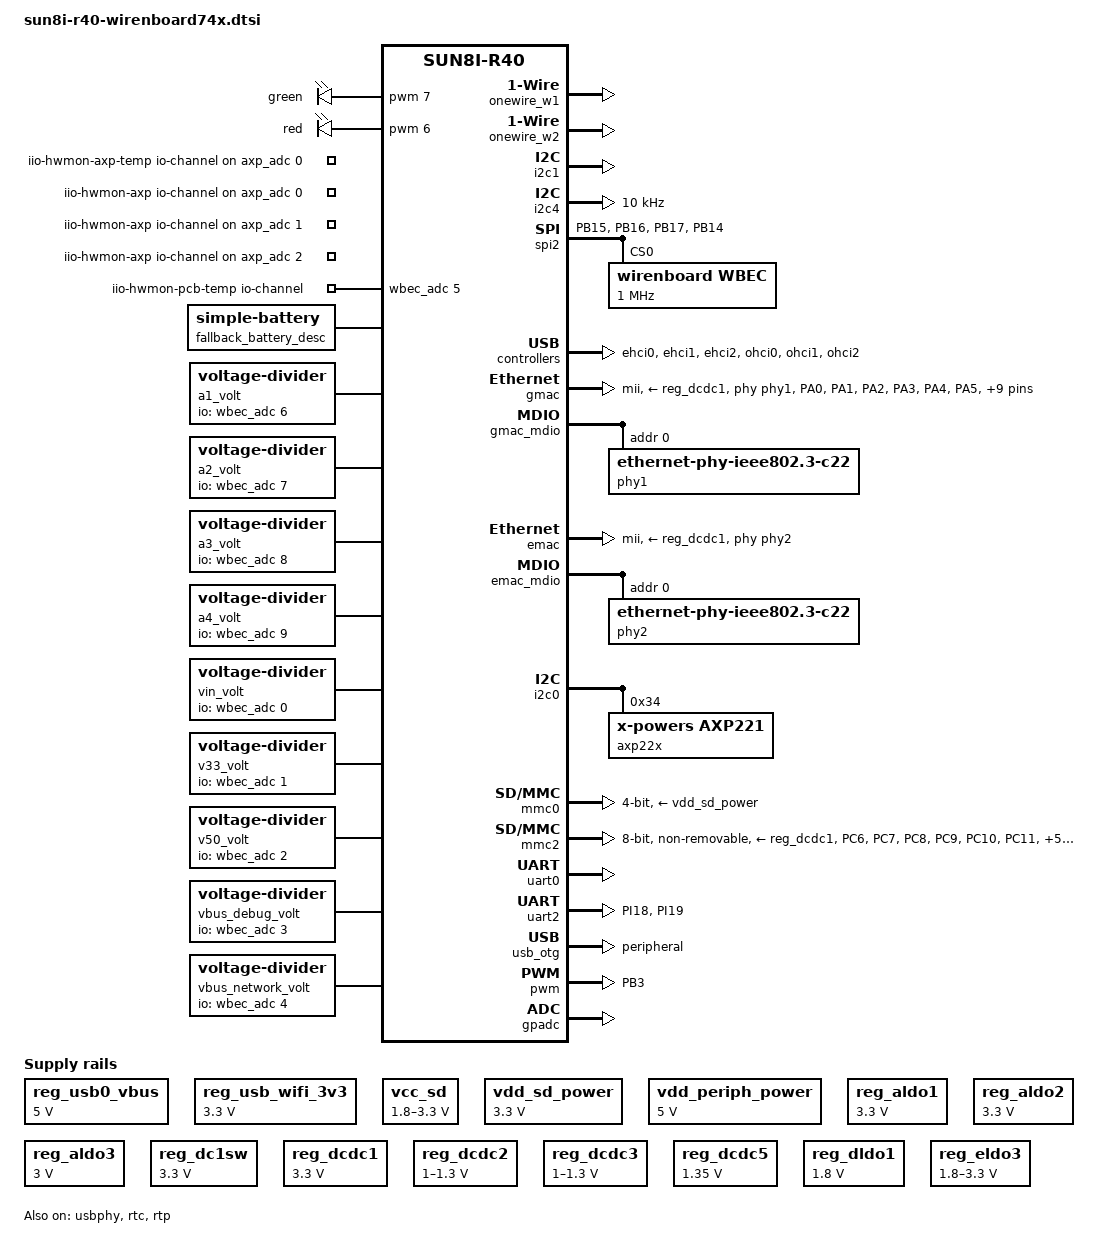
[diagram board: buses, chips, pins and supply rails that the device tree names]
/dts-v1/;
#include "sun8i-r40.dtsi"
#include <dt-bindings/gpio/gpio.h>
#include <dt-bindings/pwm/pwm.h>

#define PIN_PA &pio 0
#define PIN_PB &pio 1
#define PIN_PC &pio 2
#define PIN_PD &pio 3
#define PIN_PE &pio 4
#define PIN_PF &pio 5
#define PIN_PG &pio 6
#define PIN_PH &pio 7
#define PIN_PI &pio 8

/ {
	aliases {
		ethernet0 = &emac;
		ethernet1 = &gmac;
		serial0 = &uart0;
		serial1 = &uart1;
		serial2 = &uart2;
		serial3 = &uart3;
		serial4 = &uart4;
		serial5 = &uart5;
		serial6 = &uart6;
		serial7 = &uart7;
		mmc0 = &mmc2;
		mmc1 = &mmc0;
		rtc0 = &rtc_onboard;
		rtc1 = &rtc;
		rtc2 = &rtc_onboard_txco;
		wbc_modem = &wbc_modem;
		rtc_onboard = &rtc_onboard;
		rtc_onboard_txco = &rtc_onboard_txco;
	};

	chosen {
		stdout-path = "serial0:115200n8";
	};

	regulators {
		compatible = "simple-bus";
		#address-cells = <1>;
		#size-cells = <0>;

		reg_usb0_vbus: regulator@1 {
			reg = <1>;
			compatible = "regulator-fixed";
			regulator-name = "usb0_vbus";
			regulator-min-microvolt = <5000000>;
			regulator-max-microvolt = <5000000>;

			gpio = <PIN_PE 0 GPIO_ACTIVE_HIGH>;
			enable-active-high;
		};

		/* USB Wi-Fi is directly connected to SoC, power supply is
		   switched by dedicated P-channel FET */
		reg_usb_wifi_3v3: regulator@2 {
			reg = <2>;
			compatible = "regulator-fixed";
			regulator-name = "usb_wifi_3v3";
			regulator-min-microvolt = <3300000>;
			regulator-max-microvolt = <3300000>;
			gpio = <PIN_PD 24 GPIO_ACTIVE_HIGH>;
			enable-active-low;
		};

		/* Wi-Fi on SoM */
		som_wifi_pwrseq: som_wifi_pwrseq {
			compatible = "mmc-pwrseq-simple";
			reset-gpios = <PIN_PC 3 GPIO_ACTIVE_LOW>; /* PC3*/
			// clocks = <&ccu CLK_OUTA>;
			// clock-names = "ext_clock";
		};

		/* MicroSD reference voltage regulator */
		vcc_sd: vdd-sd {
			compatible = "regulator-gpio";
			regulator-name = "vcc-sd";
			regulator-min-microvolt = <1800000>;
			regulator-max-microvolt = <3300000>;
			gpios = <PIN_PC 22 GPIO_ACTIVE_HIGH>;
			states = <3300000 0
                                  1800000 1>;
		};

		vdd_sd_power: vdd-sd-power {
			compatible = "regulator-fixed";
			regulator-name = "vdd-sd-power";
			regulator-min-microvolt = <3300000>;
			regulator-max-microvolt = <3300000>;
			gpio = <PIN_PD 23 GPIO_ACTIVE_HIGH>;
			enable-active-low;
		};

		vdd_periph_power: vdd-periph-power {
			compatible = "regulator-fixed";
			regulator-name = "vdd-periph-power";
			regulator-min-microvolt = <5000000>;
			regulator-max-microvolt = <5000000>;
			regulator-always-on;

			gpio = <PIN_PB 13 GPIO_ACTIVE_HIGH>;
			enable-active-high;
		};
	};

	i2c_wbec: i2c_wbec {
		compatible = "i2c-gpio";
		sda-gpios = <PIN_PB 16 GPIO_ACTIVE_HIGH>; /* sda/mosi */
		scl-gpios = <PIN_PB 17 GPIO_ACTIVE_HIGH>; /* scl/miso */

		i2c-gpio,delay-us = <2>;	/* ~100 kHz */

		pinctrl-0 = <&pinctrl_wbec_i2c_gpio>;
		pinctrl-names = "default";
		#address-cells = <1>;
		#size-cells = <0>;
		status = "disabled";
	};

	/* Enable 1-wire network on terminal block W1 */
	onewire_w1: onewire_w1 {
		compatible = "w1-gpio";
		gpios = <PIN_PH 2 (GPIO_ACTIVE_HIGH | GPIO_OPEN_DRAIN)>;
		pu-gpios = <PIN_PI 0 GPIO_ACTIVE_HIGH>;
		status = "okay";
	};

	/* Enable 1-wire network on terminal block W2 */
	onewire_w2: onewire_w2 {
		compatible = "w1-gpio";
		gpios = <PIN_PI 17 (GPIO_ACTIVE_HIGH | GPIO_OPEN_DRAIN)>;
		pu-gpios = <PIN_PI 1 GPIO_ACTIVE_HIGH>;
		status = "okay";
	};

	leds-pwm {
		compatible = "pwm-leds";
		pinctrl-names = "default";
		pinctrl-0 = <&pwm_ch6_pb_pins &pwm_ch7_pb_pins>;

		green {
			/* PB10 PWM7 SODIMM:119 */
			label = "green";
			pwms = <&pwm 7 100000 0>;
			max-brightness = <255>;
			linux,default-trigger = "default-off";
			default-state = "on";
			active-low;
		};

		red {
			/* PB9 PWM6 SODIMM:117 */
			label = "red";
			pwms = <&pwm 6 100000 0>;
			max-brightness = <255>;
			linux,default-trigger = "timer";
		};
	};

	wirenboard {
		adc-type = <3>;
		pwm-buzzer = <1>;

		analog-inputs {
			/* we don't use standard 'io-channels = <&adc1 N>' here because
			   there is seemingly no way to associate iio channel index (N
			   in above example) with channel name as in sysfs path
			*/
			A1 {
				iio-device = <&a1_volt>;
				decimal-places = <1>;
				averaging-window = <1>;
				sort-order = <0>;
			};

			A2 {
				iio-device = <&a2_volt>;
				decimal-places = <1>;
				averaging-window = <1>;
				sort-order = <1>;
			};

			A3 {
				iio-device = <&a3_volt>;
				decimal-places = <1>;
				averaging-window = <1>;
				sort-order = <2>;
			};

			A4 {
				iio-device = <&a4_volt>;
				decimal-places = <1>;
				averaging-window = <1>;
				sort-order = <2>;
			};

			Vin {
				iio-device = <&vin_volt>;
				decimal-places = <1>;
				averaging-window = <1>;
				sort-order = <3>;
			};

			V3_3 {
				iio-device = <&v33_volt>;
				decimal-places = <3>;
				averaging-window = <1>;
				sort-order = <4>;
			};

			V5_0 {
				iio-device = <&v50_volt>;
				decimal-places = <3>;
				averaging-window = <1>;
				sort-order = <5>;
			};

			Vbus_debug {
				iio-device = <&vbus_debug_volt>;
				decimal-places = <2>;
				averaging-window = <1>;
				sort-order = <6>;
			};

			Vbus_network {
				iio-device = <&vbus_network_volt>;
				decimal-places = <2>;
				averaging-window = <1>;
				sort-order = <7>;
			};
		};

		gpios {
			A1_OUT {
				io-gpios = <PIN_PD 13 GPIO_ACTIVE_HIGH>;
				gpio-xlate-type = "bank_pin";
				gpio-pins-per-bank = <32>;
				output-low;
				sort-order = <0>;
			};

			A2_OUT {
				io-gpios = <PIN_PD 12 GPIO_ACTIVE_HIGH>;
				gpio-xlate-type = "bank_pin";
				gpio-pins-per-bank = <32>;
				output-low;
				sort-order = <1>;
			};

			A3_OUT {
				io-gpios = <PIN_PD 11 GPIO_ACTIVE_HIGH>;
				gpio-xlate-type = "bank_pin";
				gpio-pins-per-bank = <32>;
				output-low;
				sort-order = <2>;
			};

			A4_OUT {
				io-gpios = <PIN_PD 10 GPIO_ACTIVE_HIGH>;
				gpio-xlate-type = "bank_pin";
				gpio-pins-per-bank = <32>;
				output-low;
				sort-order = <3>;
			};

			A1_IN {
				io-gpios = <PIN_PH 7 GPIO_ACTIVE_LOW>;
				gpio-xlate-type = "bank_pin";
				gpio-pins-per-bank = <32>;
				input;
				sort-order = <4>;
			};

			A2_IN {
				io-gpios = <PIN_PH 6 GPIO_ACTIVE_LOW>;
				gpio-xlate-type = "bank_pin";
				gpio-pins-per-bank = <32>;
				input;
				sort-order = <5>;
			};

			A3_IN {
				io-gpios = <PIN_PH 3 GPIO_ACTIVE_LOW>;
				gpio-xlate-type = "bank_pin";
				gpio-pins-per-bank = <32>;
				input;
				sort-order = <6>;
			};

			A4_IN {
				io-gpios = <PIN_PH 4 GPIO_ACTIVE_LOW>;
				gpio-xlate-type = "bank_pin";
				gpio-pins-per-bank = <32>;
				input;
				sort-order = <7>;
			};

			5V_OUT {
				io-gpios = <PIN_PE 1 GPIO_ACTIVE_HIGH>;
				gpio-xlate-type = "bank_pin";
				gpio-pins-per-bank = <32>;
				output-high;
				sort-order = <8>;
			};

			V_OUT {
				/delete-property/ gpio-xlate-type;
				/delete-property/ gpio-pins-per-bank;

				io-gpios = <&wbec_gpio 4 GPIO_ACTIVE_HIGH>;
				output-high;
				sort-order = <9>;
			};
		};

		hwmon-nodes {
			cputemp {
				title = "CPU Temperature";
				hwmon-node-name = "cpu0_thermal";
				hwmon-channel = "temp1";
			};

			pcbtemp {
				title = "Board Temperature";
				hwmon-node-name = "iio-hwmon-pcb-temp";
				hwmon-channel = "temp1";
			};
		};
	};

	iio-hwmon-axp-temp {
		compatible = "iio-hwmon";
		io-channels = <&axp_adc 0>;
	};

	iio-hwmon-axp {
		compatible = "iio-hwmon";
		io-channels = <&axp_adc 0>, <&axp_adc 1>, <&axp_adc 2>;
	};

	iio-hwmon-pcb-temp {
		compatible = "iio-hwmon";
		io-channels = <&wbec_adc 5>;
	};

	/*
	Because PMIC battery driver must be enabled at boot time,
	we have to give it  some battery description to
	override default (or preserved from last boot) register
	values when it comes to charging voltage and current
	*/
	fallback_battery_desc: fallback-battery-desc {
		compatible = "simple-battery";
		constant-charge-current-max-microamp = <300000>;
		constant-charge-voltage-max-microvolt = <4100000>;
		status = "okay";
	};

	a1_volt: a1-volt {
		compatible = "voltage-divider";
		io-channels = <&wbec_adc 6>;
		#io-channel-cells = <1>;

		output-ohms = <10000>;
		full-ohms = <98700>;
		status = "okay";
	};

	a2_volt: a2-volt {
		compatible = "voltage-divider";
		io-channels = <&wbec_adc 7>;
		#io-channel-cells = <1>;

		output-ohms = <10000>;
		full-ohms = <98700>;
	};

	a3_volt: a3-volt {
		compatible = "voltage-divider";
		io-channels = <&wbec_adc 8>;
		#io-channel-cells = <1>;

		output-ohms = <10000>;
		full-ohms = <98700>;
	};

	a4_volt: a4-volt {
		compatible = "voltage-divider";
		io-channels = <&wbec_adc 9>;
		#io-channel-cells = <1>;

		output-ohms = <10000>;
		full-ohms = <98700>;
	};

	vin_volt: vin-volt {
		compatible = "voltage-divider";
		io-channels = <&wbec_adc 0>;
		#io-channel-cells = <1>;

		output-ohms = <1>;
		full-ohms = <1>;
	};

	v33_volt: v33-volt {
		compatible = "voltage-divider";
		io-channels = <&wbec_adc 1>;
		#io-channel-cells = <1>;

		output-ohms = <1>;
		full-ohms = <1>;
	};

	v50_volt: v50-volt {
		compatible = "voltage-divider";
		io-channels = <&wbec_adc 2>;
		#io-channel-cells = <1>;

		output-ohms = <1>;
		full-ohms = <1>;
	};

	vbus_debug_volt: vbus-debug-volt {
		compatible = "voltage-divider";
		io-channels = <&wbec_adc 3>;
		#io-channel-cells = <1>;

		output-ohms = <1>;
		full-ohms = <1>;
	};

	vbus_network_volt: vbus-network-volt {
		compatible = "voltage-divider";
		io-channels = <&wbec_adc 4>;
		#io-channel-cells = <1>;

		output-ohms = <1>;
		full-ohms = <1>;
	};
};

/* WBIO I2C */
&i2c1 {
	status = "okay";
};

/* Optional RTC + ATECC */
&i2c4 {
	status = "okay";
	clock-frequency = <10000>;

	rtc_onboard_txco: rtc@32 {
		compatible = "whwave,sd3078";
		reg = <0x32>;
		status = "disabled";
	};
};

&i2c4_pins {
	bias-pull-up;
};

/* Wiren Board Embedded Controller */
&spi2 {
	pinctrl-0 = <&spi2_pb_pins>,
		    <&spi2_cs0_pb_pin>;
	pinctrl-names = "default";
	status = "okay";

	wbec: wbec@0 {
		spi-max-frequency = <1000000>;

		compatible = "wirenboard,wbec";
		reg = <0>;
		status = "okay";
		#address-cells = <1>;
		#size-cells = <0>;

		wbec-watchdog@0 {
			compatible = "wirenboard,wbec-watchdog";
			reg = <0>;
		};

		wbec-pwrkey@0 {
			compatible = "wirenboard,wbec-pwrkey";
			reg = <0>;
		};

		rtc_onboard: wbec-rtc@0 {
			compatible = "wirenboard,wbec-rtc";
			reg = <0>;

			wakeup-source;
		};

		wbec_gpio: wbec-gpio@0 {
			compatible = "wirenboard,wbec-gpio";
			reg = <0>;

			gpio-controller;
			#gpio-cells = <2>;
			ngpios = <5>;
			gpio-line-names = "EC A1", "EC A2", "EC A3", "EC A4", "EC V OUT";
		};

		wbec_adc: wbec-adc@0 {
			compatible = "wirenboard,wbec-adc";
			reg = <0>;
			#io-channel-cells = <1>;
		};

		vin: wbec-power@0 {
			compatible = "wirenboard,wbec-power";
			reg = <0>;
		};
	};
};

&pio {
	/*input-debounce = <1>;*/
	vcc-pa-supply = <&reg_dcdc1>; //ok
	// vcc-pb-supply = <&reg_dcdc1>; /* VCC-IO */
	vcc-pc-supply = <&reg_aldo2>; /* eMMC, SoM wi-fi gpios*/
	vcc-pd-supply = <&reg_dcdc1>; //ok
	vcc-pe-supply = <&reg_eldo3>; //ok
	vcc-pf-supply = <&reg_dcdc1>; //ok
	vcc-pg-supply = <&reg_dcdc1>; // microSD 3v3!!
	vcc-ph-supply = <&reg_dcdc1>; // VCC-IO
	vcc-pi-supply = <&reg_dcdc1>;// VCC-IO

	gpio-line-names =
		/* PA */
		"SOM ETH1 RXD3", "SOM ETH1 RXD2", "SOM ETH1 RXD1", "SOM ETH1 RXD0", /*  0 - 3 */
		"SOM ETH1 TXD3", "SOM ETH1 TXD2", "SOM ETH1 TXD1", "SOM ETH1 TXD0", /*  4 - 7 */
		"SOM ETH1 RXCK", "SOM ETH1 RXERR", "SOM ETH1 RXDV", "SOM ETH1 MDC", /*  8 - 11 */
		"SOM ETH1 MDIO", "SOM ETH1 TXEN", "SOM ETH1 TXCK", "SOM ETH1 CRS", /* 12 - 15 */
		"CAN TX", "CAN RX", "", "", /* 16 - 19 */
		"", "", "", "", /* 20 - 23 */
		"", "", "", "", /* 24 - 27 */
		"", "", "", "", /* 28 - 31 */
		/* PB */
		"SOM PMIC SCL", "SOM PMIC SDA", "SIM_SELECT", "BUZZER", /*  0 - 3 */
		"MOD1 RTS", "SODIMM:111 [NC]", "SODIMM:113 [NC]", "SODIMM:121 [NC]", /*  4 - 7 */
		"SODIMM:123 [NC]", "RED LED", "GREEN LED", "", /*  8 - 11 */
		"SODIMM:125 [NC]", "ON PERIPH", "EC CS", "EC CLK", /* 12 - 15 */
		"EC MOSI", "EC MISO", "WBIO SCL", "WBIO SDA", /* 16 - 19 */
		"MOD3 RTS", "CAN TXRX ON", "DEBUG UART TX", "DEBUG UART RX", /* 20 - 23 */
		"", "", "", "", /* 24 - 27 */
		"", "", "", "", /* 28 - 31 */
		/* PC */
		"MOD4 SPI MOSI", "MOD4 SPI MISO", "MOD4 SPI CLK", "SOM WI-FI ON", /*  0 - 3 */
		"SOM BT ON", "MICROSD CD", "SOM EMMC CMD", "SOM EMMC CLK", /*  4 - 7 */
		"SOM EMMC D0", "SOM EMMC D1", "SOM EMMC D2", "SOM EMMC D3", /*  8 - 11 */
		"SOM EMMC D4", "SOM EMMC D5", "SOM EMMC D6", "SOM EMMC D7", /* 12 - 15 */
		"SOM WI-FI HOST_WAKE", "SOM BT WAKE", "SOM BT HOST_WAKE", "RS-485-1 RTS", /* 16 - 19 */
		"MOD2 RTS", "RS-485-2 RTS", "SODIMM:16 [NC]", "MOD4 SPI CS", /* 20 - 23 */
		"SOM EMMC RST", "", "", "", /* 24 - 27 */
		"", "", "", "", /* 28 - 31 */
		/* PD */
		"LVDS D0 P", "LVDS D0 N", "LVDS D1 P", "LVDS D1 N", /*  0 - 3 */
		"LVDS D2 P", "LVDS D2 N", "LVDS DCK P", "LVDS DCK N", /*  4 - 7 */
		"LVDS D3 P", "LVDS D3 N", "A4 OUT", "A3 OUT", /*  8 - 11 */
		"A2 OUT", "A1 OUT", "PUSHBUTTON", "SODIMM:170 [NC]", /* 12 - 15 */
		"SODIMM:172 [NC]", "SODIMM:174 [NC]", "EC SWCLK/BOOT0", "EC RESET", /* 16 - 19 */
		"USB0 ID", "SODIMM:182 [NC]", "SODIMM:184 [NC]", "[NC]", /* 20 - 23 */
		"WI-FI ON", "GSM STATUS", "GSM PWRKEY", "GSM ON", /* 24 - 27 */
		"", "", "", "", /* 28 - 31 */
		/* PE */
		"USB0 ON", "5V_OUT ON", "SODIMM:84 [NC]", "SODIMM:82 [NC]",  /*  0 - 3 */
		"RS-485-2 TERMINATION", "SODIMM:68 [NC]", "SODIMM:66 [NC]", "SODIMM:64 [NC]", /*  4 - 7 */
		"SODIMM:62 [NC]", "RS-485-1 TERMINATION", "RS-485-2 FAILSAFE", "RS-485-1 FAILSAFE", /*  8 - 11 */
		"", "", "", "", /* 12 - 15 */
		"", "", "", "", /* 16 - 19 */
		"", "", "", "", /* 20 - 23 */
		"", "", "", "", /* 24 - 27 */
		"", "", "", "", /* 28 - 31 */
		/* PF */
		"MICROSD D1", "MICROSD D0", "MICROSD CLK", "MICROSD CMD", /*  0 - 3 */
		"MICROSD D3", "MICROSD D2", "", "", /*  4 - 7 */
		"", "", "", "", /*  8 - 11 */
		"", "", "", "", /* 12 - 15 */
		"", "", "", "", /* 16 - 19 */
		"", "", "", "", /* 20 - 23 */
		"", "", "", "", /* 24 - 27 */
		"", "", "", "", /* 28 - 31 */
		/* PG */
		"SOM WI-FI CMD", "SOM WI-FI CLK", "SOM WI-FI D0", "SOM WI-FI D1", /*  0 - 3 */
		"SOM WI-FI D2", "SOM WI-FI D3", "SOM BT TX", "SOM BT RX", /*  4 - 7 */
		"SOM BT RESERVED", "SOM BT RESERVED", "RS-485-2 TX", "RS-485-2 RX", /*  8 - 11 */
		"", "", "", "", /* 12 - 15 */
		"", "", "", "", /* 16 - 19 */
		"", "", "", "", /* 20 - 23 */
		"", "", "", "", /* 24 - 27 */
		"", "", "", "", /* 28 - 31 */
		/* PH PH0-PH21 interrupts*/
		"MOD4 TX", "MOD4 RX", "W1", "A3 IN", /*  0 - 3 */
		"A4 IN", "CAN/UART RX ALT", "A2 IN", "A1 IN", //*  4 - 7 */
		"SOM ETH0 RXD3", "SOM ETH0 RXD2", "SOM ETH0 RXD1", "SOM ETH0 RXD0", /*  8 - 11 */
		"SOM ETH0 RST", "SOM ETH1 RST", "SOM ETH0 TXD3", "SOM ETH0 TXD2", /* 12 - 15 */
		"SOM ETH0 TXD1", "SOM ETH0 TXD0", "SOM ETH0 RXCK", "SOM ETH0 RXERR", /* 16 - 19 */
		"SOM ETH0 RXDV", "SOM ETH0 MDC", "SOM ETH0 MDIO", "SOM ETH0 TXEN", /* 20 - 23 */
		"SOM ETH0 TXCK", "SOM ETH0 CRS", "SOM ETH0 COL", "SOM LCD BACKLIGHT ON", /* 24 - 27 */
		"", "", "", "", /* 28 - 31 */
		/* PI PI10-PI19 interrupts*/
		"W1 UP", "W2 UP", "CR_RTC SCL", "CR_RTC SDA", /*  0 - 3 */
		"SODIMM: 75 [NC]", "SODIMM: 77 [NC]", "SODIMM: 79 [NC]", "SODIMM: 81 [NC]", /*  4 - 7 */
		"SODIMM: 83 [NC]", "SODIMM: 85 [NC]", "MOD3 TX", "MOD3 RX", /*  8 - 11 */
		"MOD2 TX", "MOD2 RX", "MOD4 RTS", "EC INT", /* 12 - 15 */
		"WBIO INT", "W2", "RS-485-1 TX", "RS-485-1 RX", /* 16 - 19 */
		"MOD1 TX", "MOD1 RX", "", "", /* 20 - 23 */
		"", "", "", "", /* 24 - 27 */
		"", "", "", ""; /* 28 - 31 */

	/* w/o ECOL and ETXERR (used for CAN) and
	   w/o CRS which for some reason is kept as output by the A40i GMAC,
	   which, in turn, leads to wrong LED mode conifguration on IP101 phy.
	 */
	gmac_mii_pins_reduced: gmac-mii-pins-reduced {
		pins = "PA0", "PA1", "PA2", "PA3",
			"PA4", "PA5", "PA6", "PA7",
			"PA8", "PA9", "PA10", "PA11", "PA12",
			"PA13", "PA14";
		drive-strength = <40>;

		function = "gmac";
	};
	/* eMMC */
	mmc2_pins_wo_carddet: mmc2-pins {
		pins = "PC6", "PC7", "PC8", "PC9",
			"PC10", "PC11", "PC12", "PC13", "PC14",
			"PC15", "PC24";
		function = "mmc2";
		drive-strength = <40>;
		bias-pull-up;
	};

	/* MOD1 */
	pinctrl_mod1_i2c_gpio: mod1-txrx-i2c-pi-pins {
		pins = "PI20", "PI21";
		function = "gpio_in";
		bias-pull-up;
	};

	pinctrl_mod1_txrx_gpio: mod1-txrx-gpio-pi-pins {
		pins = "PI20", "PI21";
		function = "gpio_in";
	};

	pinctrl_mod1_txrx_uart: mod1-txrx-uart-pi-pins {
		pins = "PI20", "PI21";
		function = "uart7";
	};

	pinctrl_mod1_de_gpio: mod1-de-gpio-pb-pin {
		pins = "PB4";
		function = "gpio_in";
	};

	/* MOD2 */
	pinctrl_mod2_i2c_gpio: mod2-txrx-i2c-pi-pins {
		pins = "PI12", "PI13";
		function = "gpio_in";
		bias-pull-up;
	};

	pinctrl_mod2_txrx_gpio: mod2-txrx-gpio-pi-pins {
		pins = "PI12", "PI13";
		function = "gpio_in";
	};

	pinctrl_mod2_txrx_uart: mod2-txrx-uart-pi-pins {
		pins = "PI12", "PI13";
		function = "uart6";
	};

	pinctrl_mod2_de_gpio: mod2-de-gpio-pb-pin {
		pins = "PC20";
		function = "gpio_in";
	};

	/* MOD3 */
	pinctrl_mod3_i2c_gpio: mod3-txrx-i2c-pi-pins {
		pins = "PI10", "PI11";
		function = "gpio_in";
		bias-pull-up;
	};

	pinctrl_mod3_txrx_gpio: mod3-txrx-gpio-pi-pins {
		pins = "PI10", "PI11";
		function = "gpio_in";
	};

	pinctrl_mod3_txrx_uart: mod3-txrx-uart-pi-pins {
		pins = "PI10", "PI11";
		function = "uart5";
	};

	pinctrl_mod3_de_gpio: mod3-de-gpio-pb-pin {
		pins = "PB20";
		function = "gpio_in";
	};

	/* MOD4 */
	pinctrl_mod4_i2c_gpio: mod4-txrx-i2c-pi-pins {
		pins = "PH0", "PH1";
		function = "gpio_in";
		bias-pull-up;
	};

	pinctrl_mod4_txrx_gpio: mod4-txrx-gpio-pi-pins {
		pins = "PH0", "PH1";
		function = "gpio_in";
	};

	pinctrl_mod4_txrx_uart: mod4-txrx-uart-pi-pins {
		pins = "PH0", "PH1";
		function = "uart3";
	};

	pinctrl_mod4_de_gpio: mod4-de-gpio-pb-pin {
		pins = "PI14";
		function = "gpio_in";
	};

	pinctrl_mod4_spi_gpio: mod4-spi-gpio-pc-pins {
		pins = "PC0", "PC1", "PC2", "PC23";
		function = "gpio_in";
	};

	pinctrl_mod4_spi_spi: mod4-spi-spi-pc-pins {
		pins = "PC0", "PC1", "PC2", "PC23";
		function = "spi0";
	};

	/* RS-485-1*/
	pinctrl_rs485_1_uart_rs485: rs485-1-uart-rs485-pins {
		pins = "PI18", "PI19";
		function = "uart2";
	};

	/* RS-485-2*/
	pinctrl_rs485_2_uart_rs485: rs485-2-uart-rs485-pins {
		pins = "PG10", "PG11";
		function = "uart4";
	};

	pinctrl_rs485_2_uart_can: rs485-2-uart-can-pins {
		pins = "PG10", "PH5";
		function = "uart4";
	};

	/* W1-W2 */
	pinctrl_w1_gpio: w1-gpio-pins {
		pins = "PB13", "PH2";
		function = "gpio_in";
	};

	pinctrl_w2_gpio: w2-gpio-pins {
		pins = "PE3", "PI15";
		function = "gpio_in";
	};

	/* PWM */
	pwm_ch1_pb_pins: pwm-ch1-pb-pins {
		pins = "PB3";
		function = "pwm";
	};

	pwm_ch6_pb_pins: pwm-ch6-pb-pins {
		pins = "PB9";
		function = "pwm";
	};

	pwm_ch7_pb_pins: pwm-ch7-pb-pins {
		pins = "PB10";
		function = "pwm";
	};

	/* WBEC */
	pinctrl_wbec_i2c_gpio: wbec-i2c-pb-pins {
		pins = "PB16", "PB17";
		function = "gpio_in";
		bias-pull-up;
	};

	spi2_pb_pins: spi2-pb-pins {
		pins = "PB15", "PB16", "PB17";
		function = "spi2";
	};

	spi2_cs0_pb_pin: spi2-cs0-pb-pin {
		pins = "PB14";
		function = "spi2";
	};
};

&cpu0 {
	cpu-supply = <&reg_dcdc2>;
};


/* Enable USB ports (FS and HS controllers) */
&ehci0 {
	status = "okay";
};

&ehci1 {
	status = "okay";
};

&ehci2 {
	status = "okay";

	#address-cells = <1>;
	#size-cells = <0>;
	/* wbc-modem is connected to 1st port of usb bus */
	wbc_modem: wbc-modem@1 {
		reg = <1>;

		compatible = "wirenboard,wbc-usb";
		power-type = <2>;
		status = "disabled";

		/* keeps compatibility in wb of-parsing tools */
		gpio-xlate-type = "bank_pin";
		gpio-pins-per-bank = <32>;
		power-gpios = <PIN_PD 27 GPIO_ACTIVE_HIGH>;
		pwrkey-gpios = <PIN_PD 26 GPIO_ACTIVE_HIGH>;
		status-gpios = <PIN_PD 25 GPIO_ACTIVE_LOW>;
		simselect-gpios = <PIN_PB 2 GPIO_ACTIVE_HIGH>;
	};
};


&ohci0 {
	status = "okay";
};

&ohci1 {
	status = "okay";
};

&ohci2 {
	status = "okay";
};

&usbphy {
	usb0_vbus-supply = <&reg_usb0_vbus>;
	usb1_vbus-supply = <&reg_usb_wifi_3v3>;
	usb2_vbus-supply = <&reg_dcdc1>;

	usb0_id_det-gpios = <PIN_PD 20 (GPIO_ACTIVE_HIGH | GPIO_PULL_DOWN)>;
	dr_mode = "otg";
	wirenboard,mux-on-id-pin;

	status = "okay";
};

/* Ethernet ports */
&gmac {
	pinctrl-names = "default";
	pinctrl-0 = <&gmac_mii_pins_reduced>;
	phy-handle = <&phy1>;
	phy-mode = "mii";
	phy-supply = <&reg_dcdc1>;
	status = "okay";
};

&gmac_mdio {
	phy1: ethernet-phy@0 {
		compatible = "ethernet-phy-ieee802.3-c22";
		reg = <0>;
		reset-gpios = <PIN_PH 13 GPIO_ACTIVE_LOW>;
		reset-assert-us = <10000>;
		reset-deassert-us = <100000>;
		icplus,select-rx-error;
		status = "okay";
	};
};

&emac {
	pinctrl-names = "default";
	pinctrl-0 = <&emac_ph_pins>;
	phy-handle = <&phy2>;
	phy-mode = "mii";
	phy-supply = <&reg_dcdc1>;
	status = "okay";
};

&emac_mdio {
	status = "okay";
	phy2: ethernet-phy@0 {
		compatible = "ethernet-phy-ieee802.3-c22";
		reg = <0>;
		reset-gpios = <PIN_PH 12 GPIO_ACTIVE_LOW>;
		reset-assert-us = <10000>;
		reset-deassert-us = <100000>;
		icplus,select-rx-error;
		status = "okay";
	};
};

/* System power */

&i2c0 {
	status = "okay";

	axp22x: pmic@34 {
		compatible = "x-powers,axp221";
		reg = <0x34>;
		interrupt-parent = <&nmi_intc>;
		interrupts = <0 IRQ_TYPE_LEVEL_LOW>;
	};
};

#include "axp22x.dtsi"

/* ALDO1: 0.7V~3.3V, 300 mA, default: OFF */
/* CPU: VCC-TVIN, VCC-TVOUT */
&reg_aldo1 {
	regulator-min-microvolt = <3300000>;
	regulator-max-microvolt = <3300000>;
	regulator-name = "tv";
};

/* ALDO2: 0.7V~3.3V, 300mA, default: 1.8V */
/* eMMC VDDQ (optional), VCC-PC*/
&reg_aldo2 {
	regulator-min-microvolt = <3300000>;
	regulator-max-microvolt = <3300000>;
	regulator-init-microvolt = <3300000>;
	regulator-name = "aldo2";
};

/* ALDO3: 0.7V~3.3V, 200 mA, default: 3.0 V */
/* VCC-PLL и AVCC */
&reg_aldo3 {
	regulator-always-on;
	regulator-min-microvolt = <3000000>;
	regulator-max-microvolt = <3000000>;
	regulator-init-microvolt = <3000000>;
	regulator-name = "avcc-pll";
};

/* DC1SW Switch, 400 mA, 100mOhm, default: OFF */
&reg_dc1sw {
	regulator-min-microvolt = <3300000>;
	regulator-max-microvolt = <3300000>;
	regulator-name = "vcc-gmac-phy";
};

/* DCDC1: 1.6V~3.4V, 1400 mA, default: 3.3V
   VCC-IO процессора
   ref: eFUSE, microSD, PD, PA, DSI, HDMI, HP
   eMMC, eth phy
   3.3V для периферии на основной плате WB
*/
&reg_dcdc1 {
	regulator-always-on;
	regulator-min-microvolt = <3300000>;
	regulator-max-microvolt = <3300000>;
	regulator-name = "vcc-3v3";
};

/* DCDC2: 0.6V~1.54V, 2500 mA, default: 1.1 V */
/* CPU core vdd-cpu */
&reg_dcdc2 {
	regulator-always-on;
	regulator-min-microvolt = <1000000>;
	regulator-max-microvolt = <1300000>;
	regulator-name = "vdd-cpu";
};

/* CPU vdd-sys */
/* DCDC3: 0.6V~1.86V, 2500 mA, default: 1.1 V */
&reg_dcdc3 {
	regulator-always-on;
	regulator-min-microvolt = <1000000>;
	regulator-max-microvolt = <1300000>;
	regulator-name = "vdd-sys";
};

/* DCDC4: 0.6V~1.54V, 600mA, default: 1.1 V */
/* unused */

/* DCDC5: 1.0V~2.55V, 2000 mA, default: 1.5/DC5SET V */
/* DRAM */
&reg_dcdc5 {
	regulator-always-on;
	regulator-min-microvolt = <1350000>;
	regulator-max-microvolt = <1350000>;
	regulator-name = "vcc-dram";
};

/* DLDO1: 0.7V~3.3V, 400 mA, default: OFF */
/* in: 5V/4V (PS).
   microSD reference voltage (internal)
*/
&reg_dldo1 {
	regulator-min-microvolt = <1800000>;
	regulator-max-microvolt = <1800000>;
	regulator-name = "vcc-sd-alt";
	regulator-always-on;
};

/* ELDO3: 0.7V~3.3V, 200 mA, default: OFF */
/* ref. VCC-PE */
&reg_eldo3 {
	regulator-min-microvolt = <1800000>;
	regulator-max-microvolt = <3300000>;
	regulator-init-microvolt = <3300000>;
	regulator-always-on;
	regulator-name = "vcc-pe";
};

/* Unused: */
	/* DLDO2: 0.7V~3.3V, 200 mA, default: OFF */
	/* DLDO3: 0.7V~3.3V, 200 mA, default: OFF */
	/* DLDO4: 0.7V~3.3V, 100 mA, default: OFF */
	/* ELDO1: 0.7V~3.3V, 400 mA, default: OFF */
	/* ELDO2: 0.7V~3.3V, 200 mA, default: OFF */


/* DC5LDO: 0.7V~1.4V, 200 mA, default: 1.1V */

/* microSD */
&mmc0 {
	bus-width = <4>;
	cd-gpios = <PIN_PC 5 GPIO_ACTIVE_LOW>;
	status = "okay";

	vqmmc-supply = <&vcc_sd>;
	vmmc-supply = <&vdd_sd_power>;
	sd-uhs-sdr25;
	sd-uhs-sdr50;
	sd-uhs-sdr104;
	max-frequency = <150000000>; /* 200 MHz doesn't work, probably due to signal integrity issues */
};


&mmc2 {
	pinctrl-0 = <&mmc2_pins_wo_carddet>;
	vmmc-supply = <&reg_dcdc1>;
	vqmmc-supply = <&reg_aldo2>;
	bus-width = <8>;
	non-removable;
	no-1-8-v;
	status = "okay";
	clock-frequency = <52000000>;
};

/* Wi-Fi on SoM */
&mmc1 {
	pinctrl-names = "default";
	pinctrl-0 = <&mmc1_pg_pins>;
	vmmc-supply = <&reg_dcdc1>;
	vqmmc-supply = <&reg_dcdc1>; //fixme
	mmc-pwrseq = <&som_wifi_pwrseq>;
	bus-width = <4>;
	non-removable;
	status = "disabled";
};

/* CAN bus */
&can0 {
	pinctrl-0 = <&can_pa_pins>;
	pinctrl-names = "default";

	status = "disabled";
};


/* Debug UART */
&uart0 {
	pinctrl-names = "default";
	pinctrl-0 = <&uart0_pb_pins>;
	status = "okay";
};

/* UARTs */
&uart2 { /* RS-485-1 */
	pinctrl-0 = <&pinctrl_rs485_1_uart_rs485>;
	pinctrl-names = "default";

	linux,rs485-enabled-at-boot-time;
	rts-gpios = <PIN_PC 19 0>;

	status = "okay";
};

&uart4 { /* RS-485-2 */
	pinctrl-0 = <&pinctrl_rs485_2_uart_rs485>;
	pinctrl-names = "default";

	linux,rs485-enabled-at-boot-time;
	rts-gpios = <PIN_PC 21 0>;

	status = "disabled";
};

&uart7 { /* MOD1 */
	pinctrl-0 = <&uart7_pi_pins>;
	pinctrl-names = "default";

	cts-override;
	status = "disabled";
};

&uart6 { /* MOD2 */
	pinctrl-0 = <&uart6_pi_pins>;
	pinctrl-names = "default";

	cts-override;
	status = "disabled";
};

&uart5 { /* MOD3 */
	pinctrl-0 = <&uart5_pi_pins>;
	pinctrl-names = "default";

	cts-override;
	status = "disabled";
};

&uart3 { /* MOD4 */
	pinctrl-0 = <&uart3_ph_pins>;
	pinctrl-names = "default";
	cts-override;
	status = "disabled";
};

&usb_otg {
	dr_mode = "peripheral";
	status = "okay";
	maximum-speed = "full-speed";
};

/* CPU RTC is useless since it doesn't have separate power supply. However we must keep it on to get proper LOSC for the rest of SoC.*/
&rtc {
	status = "okay";
};

&pwm {
	pinctrl-0 = <&pwm_ch1_pb_pins>;
	pinctrl-names = "default";
	status = "okay";
};

&rtp {
	status = "okay";
};

&gpadc {
	status = "okay";
};

/*
Neither MFD core, nor AXP driver doesn't support dynamic device-tree
modification. So we have to enable the battery driver on boot time
even if no battery module is installed.
*/
&battery_power_supply {
	status = "okay";
	monitored-battery = <&fallback_battery_desc>;

	// it's ~40C conservative high temperature limit.
	// to be overrided by battery overlay
	x-powers,charge-high-temp-microvolt = <499200>;
};

// labels used by overlays to control generic peripherals
ethernet0: &emac {};
ethernet1: &gmac {};
